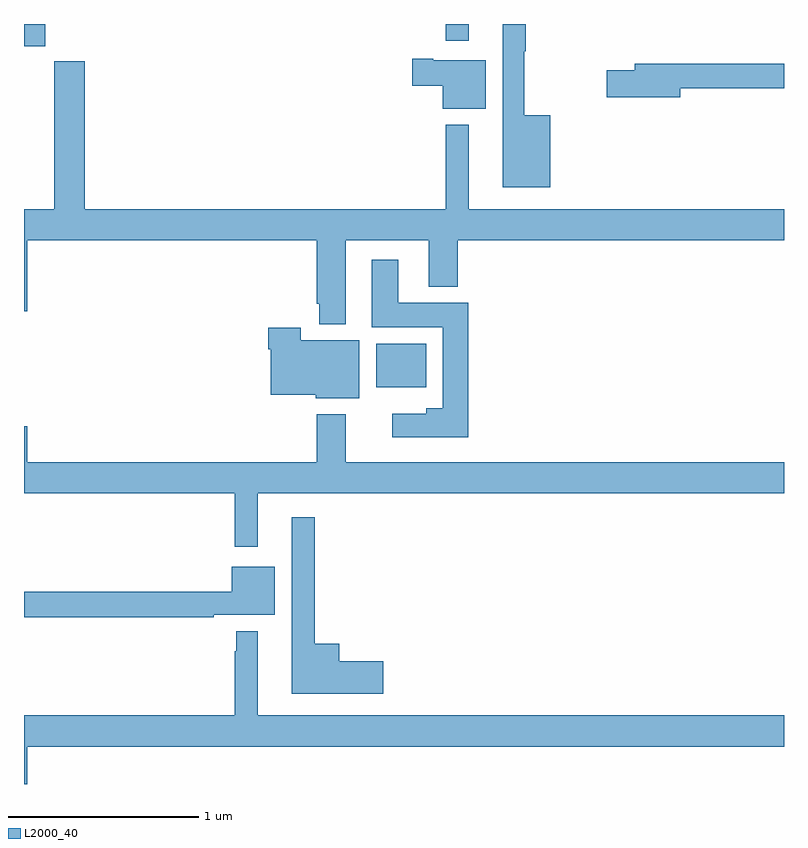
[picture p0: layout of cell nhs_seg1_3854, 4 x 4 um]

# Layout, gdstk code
import gdstk
lib = gdstk.Library(unit=1e-6, precision=1e-09)
def R(c, l, rs):  # rectangles x0, y0, x1, y1
    for r in rs: c.add(gdstk.rectangle(r[:2], r[2:], *l))
def P(c, l, *ps):  # polygons
    for p in ps: c.add(gdstk.Polygon(p, *l))
L2000_40 = (2000, 40)

nhs_seg1_3854 = lib.new_cell('nhs_seg1_3854')
R(nhs_seg1_3854, L2000_40, [(322.853,556.286,323.116,556.516), (321,558.083,321.112,558.199), (323.22,558.111,323.341,558.199)])
P(nhs_seg1_3854, L2000_40, [(323.77,557.719),(323.633,557.719),(323.633,558.055),(323.641,558.055),(323.641,558.199),(323.519,558.199),(323.519,557.339),(323.77,557.339)],
  [(323.431,558.007),(323.155,558.007),(323.155,558.015),(323.043,558.015),(323.043,557.873),(323.204,557.873),(323.204,557.753),(323.431,557.753)],
  [(322.693,557.06),(323.129,557.06),(323.129,556.817),(323.282,556.817),(323.282,557.06),(325,557.06),(325,557.224),(323.341,557.224),(323.341,557.668),(323.22,557.668),(323.22,557.224),(321.32,557.224),(321.32,558.004),(321.16,558.004),(321.16,557.224),(321,557.224),(321,556.686),(321.016,556.686),(321.016,557.06),(322.541,557.06),(322.541,556.726),(322.553,556.726),(322.553,556.619),(322.693,556.619)],
  [(324.454,557.86),(325,557.86),(325,557.989),(324.215,557.989),(324.215,557.955),(324.066,557.955),(324.066,557.813),(324.454,557.813)],
  [(323.339,556.732),(322.969,556.732),(322.969,556.957),(322.829,556.957),(322.829,556.604),(323.204,556.604),(323.204,556.177),(323.117,556.177),(323.117,556.147),(322.938,556.147),(322.938,556.025),(323.339,556.025)],
  [(322.765,556.534),(322.456,556.534),(322.456,556.6),(322.286,556.6),(322.286,556.487),(322.298,556.487),(322.298,556.247),(322.536,556.247),(322.536,556.229),(322.765,556.229)],
  [(322.231,555.728),(325,555.728),(325,555.892),(322.693,555.892),(322.693,556.144),(322.541,556.144),(322.541,555.892),(321.016,555.892),(321.016,556.081),(321,556.081),(321,555.728),(322.11,555.728),(322.11,555.447),(322.231,555.447)],
  [(322.891,554.846),(322.66,554.846),(322.66,554.938),(322.531,554.938),(322.531,555.604),(322.409,555.604),(322.409,554.675),(322.891,554.675)],
  [(321.998,555.089),(322.321,555.089),(322.321,555.343),(322.094,555.343),(322.094,555.212),(321,555.212),(321,555.076),(321.998,555.076)],
  [(321.016,554.396),(325,554.396),(325,554.56),(322.231,554.56),(322.231,555.004),(322.116,555.004),(322.116,554.897),(322.11,554.897),(322.11,554.56),(321,554.56),(321,554.199),(321.016,554.199)])

lib.write_gds('nhs_seg1_3854.gds')
